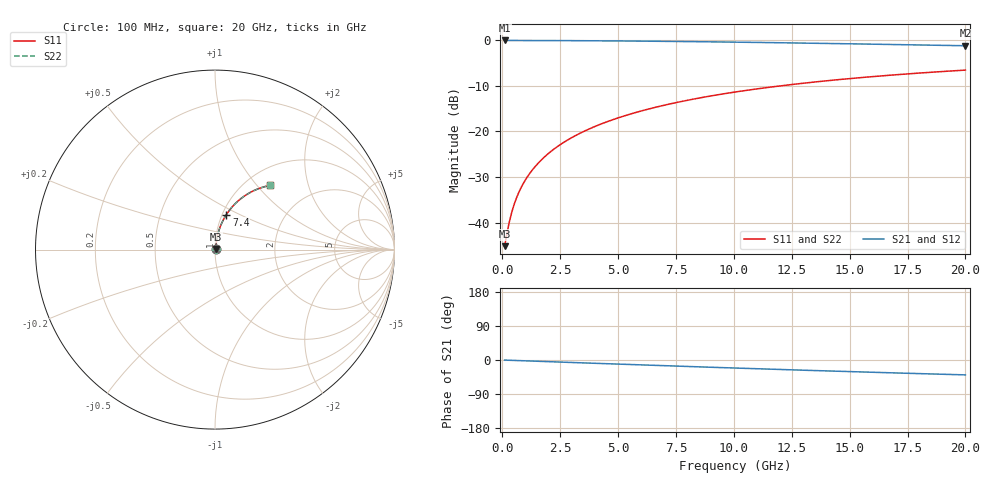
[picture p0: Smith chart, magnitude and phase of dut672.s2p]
! Touchstone file exported from HFSS 2026.1.0
!  File:  C:/ffzhzh/LocalFiles/Ansys_Project_Files/temp_train_BSMRDL_672_1783017343_46388.aedt
!  Generated:  02:37:07 AM Jul  3, 2026
!  Design:  BSMRDL
!  Project:  temp_train_BSMRDL_672_1783017343_46388
! Variables:
!  h_bsmrdl = 2.77um
!  h_ox = 20um
!  h_rdl = 5um
!  h_sub = 80um
!  h_tmrdl = 5um
!  h_tsv = 80um
!  h_via = 3um
!  l_bsmrdl = 467.35um
!  l_sub = 867.35um
!  l_tmrdl = 200um
!  m_sub = 200um
!  pitch = 55.18um
!  r_tsv = 6um
!  s_tmrdl = 10um
!  w_bsmrdl = 13.23um
!  w_sub = 500um
!  w_tmrdl = 12um
!  x_tsv_center1 = 206um
!  x_tsv_center2 = 686.58um
!  x_tsv_center3 = 898.58um
!  x_tsv_center4 = 1379.16um
!  x_tsv_center5 = 1591.16um
!  x_tsv_center6 = 2071.74um
# GHz S MA R 50.000000
! Terminal data exported
! Port[1] = BSM_RDL1_1_T1
! Port[2] = BSM_RDL1_1_T2
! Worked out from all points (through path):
!   200 points, 100 MHz to 20 GHz, reference 50 ohm
!   highest |S21| = -0.04 dB at 100 MHz (marker M1); lowest = -1.2 dB at 20 GHz (marker M2)
!   group delay of S21, straight-line fit = 5.47 ps
!   lowest |S11| = -45.2 dB at 100 MHz (marker M3), VSWR 1.01, Z = 50.5 + j0.299 ohm
!   |S11| at or under -10 dB: start of sweep to 12.01 GHz
!   |S22| runs from -45.2 to -6.5 dB; largest |S21 - S12| = 2.7e-15
!   S11 on the Smith chart (normalised r, x): 100 MHz: 1.01, +0.01; 7.4 GHz: 1.05, +0.42; 20 GHz: 1.28, +1.17
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0.1  0.005517 32.5  0.9954 -0.2  0.9954 -0.2  0.005517 32.5
! Gamma 0 0 0 0
! Port Impedance 50 0 50 0
0.2  0.007575 51.3  0.9953 -0.5  0.9953 -0.5  0.007575 51.3
0.3  0.01009 61.2  0.9952 -0.7  0.9952 -0.7  0.01009 61.2
0.4  0.01277 66.8  0.9951 -0.9  0.9951 -0.9  0.01277 66.8
0.5  0.01552 70.4  0.995 -1.1  0.995 -1.1  0.01552 70.4
0.6  0.0183 72.8  0.9948 -1.3  0.9948 -1.3  0.0183 72.8
0.8  0.02388 75.8  0.9946 -1.8  0.9946 -1.8  0.02388 75.8
1.1  0.03228 78.1  0.9942 -2.4  0.9942 -2.4  0.03228 78.1
1.5  0.0435 79.5  0.9936 -3.3  0.9936 -3.3  0.0435 79.5
1.8  0.05193 79.9  0.9931 -3.9  0.9931 -3.9  0.05193 79.9
2.1  0.06036 80.0  0.9926 -4.6  0.9926 -4.6  0.06036 80.0
2.7  0.07719 79.8  0.9912 -5.9  0.9912 -5.9  0.07719 79.8
3.5  0.09952 78.9  0.989 -7.6  0.989 -7.6  0.09952 78.9
4.2  0.1189 77.9  0.9867 -9.1  0.9867 -9.1  0.1189 77.9
5  0.1408 76.5  0.9836 -10.8  0.9836 -10.8  0.1408 76.5
6.8  0.1889 73.2  0.9748 -14.6  0.9748 -14.6  0.1889 73.2
7.4  0.2045 72.1  0.9715 -15.9  0.9715 -15.9  0.2045 72.1
8.7  0.2375 69.6  0.9635 -18.5  0.9635 -18.5  0.2375 69.6
10.1  0.2718 66.9  0.9539 -21.3  0.9539 -21.3  0.2718 66.9
13.4  0.3466 60.7  0.9283 -27.7  0.9283 -27.7  0.3466 60.7
16.7  0.413 54.9  0.9001 -33.7  0.9001 -33.7  0.413 54.9
20  0.4708 49.4  0.871 -39.3  0.871 -39.3  0.4708 49.4
